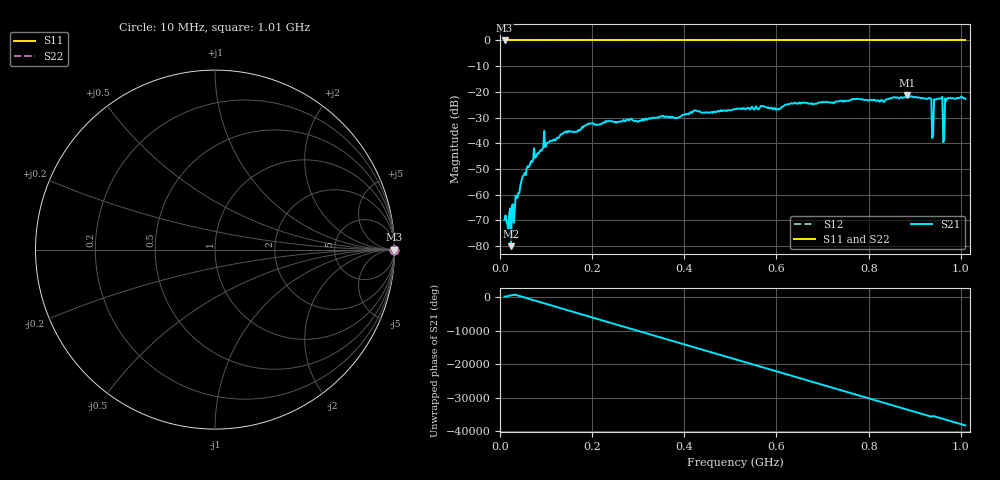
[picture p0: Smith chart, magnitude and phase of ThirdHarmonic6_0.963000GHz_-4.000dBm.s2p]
! 8/16/2025 7:10:06 AM
! C:\ANRITSUVNA\TEMP\TEMP.S2P
! CHANNEL.1
! TR.MEASUREMENT
! RAW.DATA
! RF.CORRECTION.OFF
! AVERAGING.OFF
! IF.BANDWIDTH: 5KHZ
! SWEEPTYPE:  FREQ.SWEEP(Linear)
! Reference Plane Port Info
! PORT:  PORT1  PORT2
! DISTANCE:  0  m  0  m
! TIME:  0  s  0  s
! PHASE.OFFSET:  0  deg.  0  deg.
! LOSS:  0  dB  0  dB
! REF.LOSS:  0  dB  0  dB
! REF.FREQ:  0  Hz  0  Hz
! Power Info
! POWER:  -20  dBm  -20  dBm
! EFF.POWER:  -20  dBm  -20  dBm
! SOURCE.ATTEN:  0  dB  0  dB
! TEST.ATTEN:  0  dB  0  dB
# GHZ S RI R 50.0
! FREQ.GHZ  S11RE  S11IM  S21RE  S21IM  S12RE  S12IM  S22RE  S22IM
!; PortSelection: Port_12
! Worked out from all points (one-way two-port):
!   501 points, 10 MHz to 1.01 GHz, reference 50 ohm
!   highest |S21| = -21.29 dB at 884 MHz (marker M1); lowest = -80.1 dB at 24 MHz (marker M2)
!   lowest |S11| = 0.0 dB at 10 MHz (marker M3)
!   |S11| at or under -10 dB: nowhere
!   |S22| runs from 0.0 to 0.0 dB; largest |S21 - S12| = 1.1
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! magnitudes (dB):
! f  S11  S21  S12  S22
! 10 MHz  0.0  -69.8  0.0  0.0
! 20 MHz  0.0  -67.5  0.0  0.0
! 24 MHz  0.0  -80.1  0.0  0.0
! 28 MHz  0.0  -63.7  0.0  0.0
! 30 MHz  0.0  -71.0  0.0  0.0
! 50 MHz  0.0  -52.7  0.0  0.0
! 92 MHz  0.0  -42.4  0.0  0.0
! 178 MHz  0.0  -33.7  0.0  0.0
! 344 MHz  0.0  -30.0  0.0  0.0
! 510 MHz  0.0  -26.7  0.0  0.0
! 678 MHz  0.0  -24.9  0.0  0.0
! 844 MHz  0.0  -22.7  0.0  0.0
! 884 MHz  0.0  -21.3  0.0  0.0
! 932 MHz  0.0  -22.4  0.0  0.0
! 936 MHz  0.0  -22.7  0.0  0.0
! 942 MHz  0.0  -22.9  0.0  0.0
! 946 MHz  0.0  -23.1  0.0  0.0
! 956 MHz  0.0  -22.7  0.0  0.0
! 960 MHz  0.0  -22.0  0.0  0.0
! 966 MHz  0.0  -22.5  0.0  0.0
! 970 MHz  0.0  -22.8  0.0  0.0
! 1.01 GHz  0.0  -22.7  0.0  0.0
